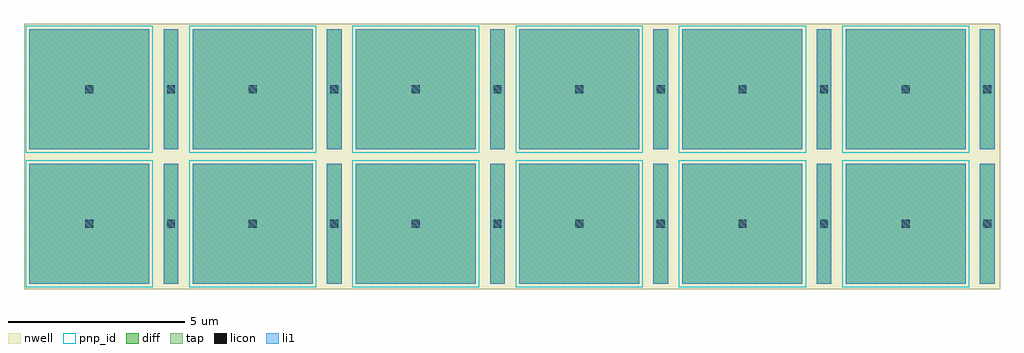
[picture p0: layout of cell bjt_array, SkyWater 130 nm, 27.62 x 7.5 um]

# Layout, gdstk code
import gdstk
lib = gdstk.Library(unit=1e-6, precision=1e-09)
def R(c, l, rs):  # rectangles x0, y0, x1, y1
    for r in rs: c.add(gdstk.rectangle(r[:2], r[2:], *l))
def A(c, l, x, y, w, h, nx, ny, dx, dy):  # array of equal rectangles
    R(c, l, [(x+i*dx, y+j*dy, x+i*dx+w, y+j*dy+h) for i in range(nx) for j in range(ny)])
nwell = (64, 20)
diff = (65, 20)
tap = (65, 44)
licon = (66, 44)
li1 = (67, 20)
pnp_id = (82, 44)

bjt_array = lib.new_cell('bjt_array')
R(bjt_array, nwell, [(-4.77,-0.15,22.85,7.35)])
A(bjt_array, diff, -4.62, 0, 3.4, 3.4, 6, 2, 4.62, 3.8)
A(bjt_array, diff, -0.82, 0, 0.42, 3.4, 6, 2, 4.62, 3.8)
A(bjt_array, tap, -0.82, 0, 0.42, 3.4, 6, 2, 4.62, 3.8)
A(bjt_array, licon, -3.03, 1.59, 0.22, 0.22, 12, 2, 2.31, 3.8)
A(bjt_array, li1, -4.62, 0, 3.4, 3.4, 6, 2, 4.62, 3.8)
A(bjt_array, li1, -0.82, 0, 0.42, 3.4, 6, 2, 4.62, 3.8)
A(bjt_array, pnp_id, -4.72, -0.1, 3.6, 3.6, 6, 2, 4.62, 3.8)

lib.write_gds('bjt_array.gds')
